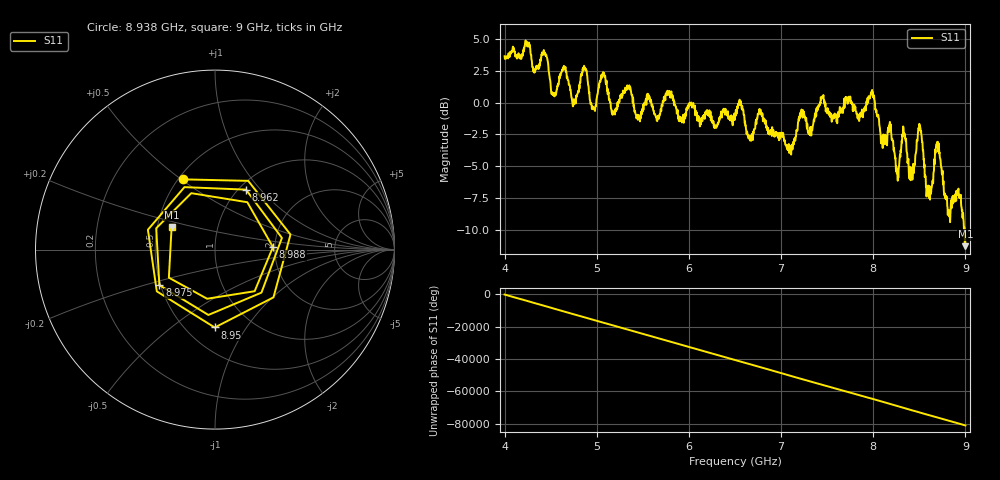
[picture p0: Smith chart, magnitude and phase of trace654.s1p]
! Created with skrf 1.8.0 (http://scikit-rf.org).
# Hz S RI R 50.0
!freq ReS11 ImS11
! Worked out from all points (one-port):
!   1601 points, 4 GHz to 9 GHz, reference 50 ohm
!   lowest |S11| = -11.3 dB at 9 GHz (marker M1), VSWR 1.75, Z = 29.7 + j8.07 ohm
!   |S11| at or under -10 dB: 8.99126 GHz to end of sweep
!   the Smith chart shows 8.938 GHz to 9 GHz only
!   S11 on the Smith chart (normalised r, x): 8.938 GHz: 0.53, +0.51; 8.95 GHz: 0.68, -0.73; 8.962 GHz: 1.08, +0.84; 8.975 GHz: 0.49, -0.23; 8.988 GHz: 1.95, +0.06; 9 GHz: 0.59, +0.16
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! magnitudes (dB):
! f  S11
! 4 GHz  3.7
! 4.431 GHz  3.9
! 4.531 GHz  0.6
! 4.625 GHz  2.6
! 4.75 GHz  0.3
! 4.866 GHz  2.8
! 4.956 GHz  -0.5
! 5.066 GHz  2.3
! 5.25 GHz  0.3
! 5.875 GHz  -0.7
! 6.5 GHz  -1.1
! 7.125 GHz  -3.7
! 7.222 GHz  -0.5
! 7.75 GHz  0.5
! 7.991 GHz  0.7
! 8.256 GHz  -5.6
! 8.331 GHz  -2.3
! 8.375 GHz  -4.6
! 8.509 GHz  -1.9
! 8.597 GHz  -6.5
! 8.697 GHz  -3.4
! 8.816 GHz  -8.7
! 8.938 GHz  -7.3
! 8.95 GHz  -7.3
! 8.962 GHz  -8.5
! 8.975 GHz  -8.7
! 8.988 GHz  -9.8
! 9 GHz  -11.3
